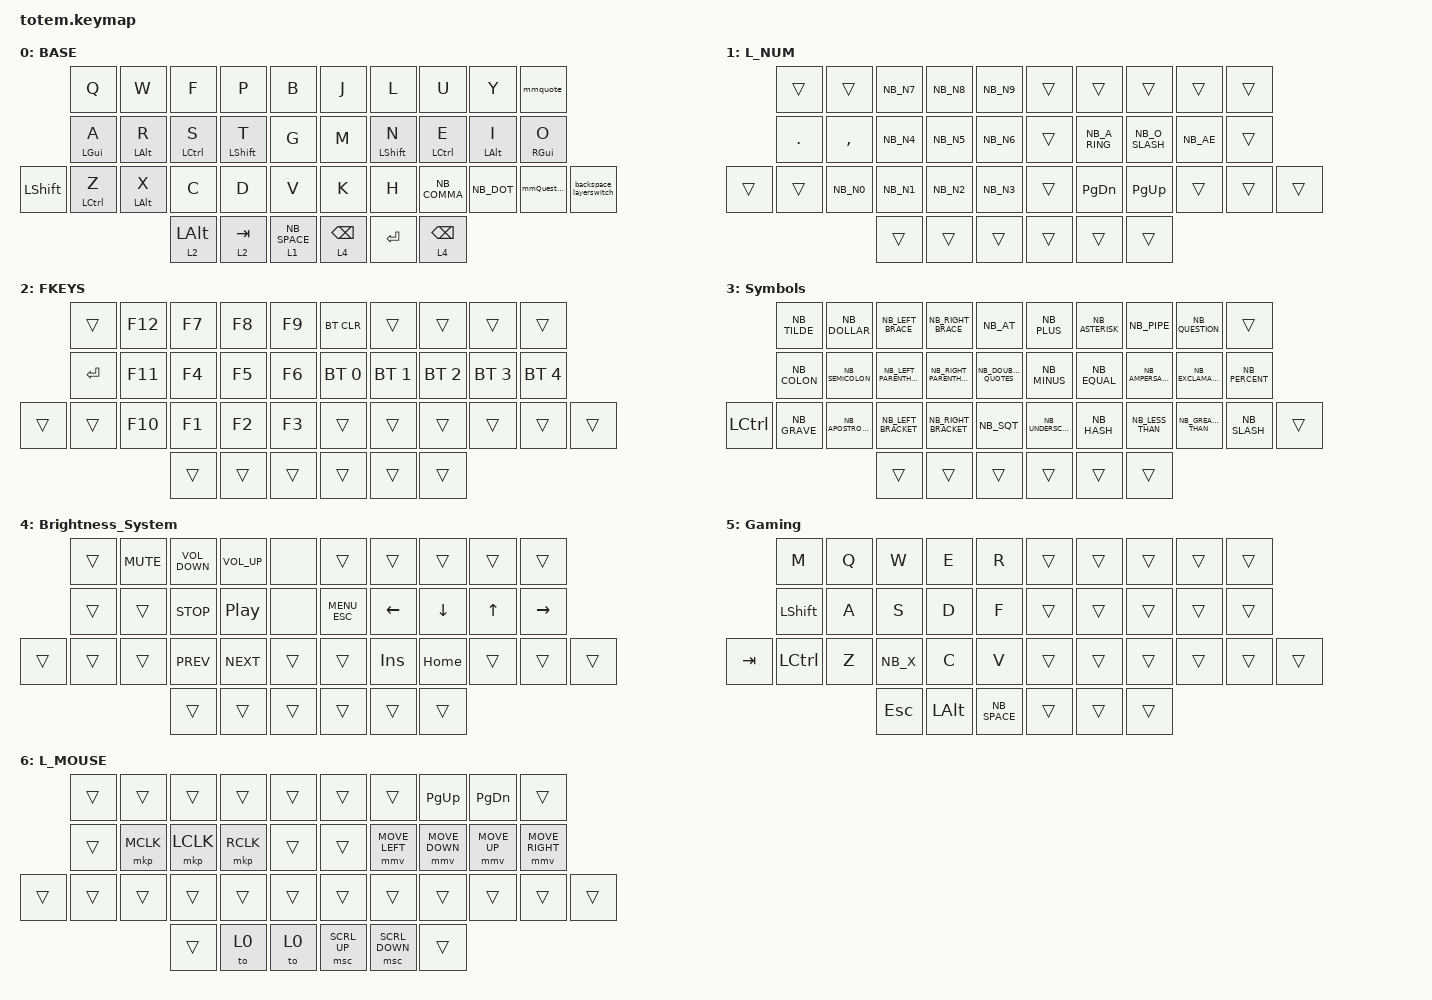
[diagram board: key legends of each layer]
//
//                                                        ▀▀▀▀▀     ▀▀▀▀▀          ▀▀█▀▀
//                                                        ▄▀▀▀▄  ▄  ▄▀▀▀▄  ▄  ▄▀▀▀▄  █  ▄▀▀▀▄
//                                                        █   █  █  █   █  █  █   █  █  █   █
//                                                         ▀▀▀   █   ▀▀▀   █   ▀▀▀   ▀   ▀▀▀
//                                                               █      ▄▄▄█▄▄▄    █   █  
//                                                               ▀      █  █  █     █▄█
//                                                             ▀▀▀▀▀    █  █  █      ▀
//                                                                      ▀  ▀  ▀
//
// ▄▄▄▄▄▄▄▄▄▄▄▄▄▄▄▄▄▄▄▄▄▄▄▄▄▄▄▄▄▄▄▄▄▄▄▄▄▄▄▄▄▄▄▄▄▄▄▄▄▄▄▄▄▄▄▄▄▄▄▄▄▄▄▄▄▄▄▄▄▄▄▄▄▄▄▄▄▄▄▄▄▄▄▄▄▄▄▄▄▄▄▄▄▄▄▄▄▄▄▄▄▄▄▄▄▄▄▄▄▄▄▄▄▄▄▄▄▄▄▄▄▄▄▄▄▄▄▄▄▄▄▄▄▄▄▄▄▄▄▄▄▄▄▄▄▄▄▄▄

#include "keys_nb.h"
#include <behaviors.dtsi>
#include <dt-bindings/zmk/bt.h>
#include <dt-bindings/zmk/keys.h>
#include <dt-bindings/zmk/pointing.h>

#define BASE 0
#define NAV  1
#define SYM  2
#define ADJ  3
#define TVP1 4
#define TVP2 5

&mt {
    quick-tap-ms = <175>;
    global-quick-tap;
    flavor = "balanced";
    tapping-term-ms = <280>;
    require-prior-idle-ms = <150>;
    hold-trigger-on-release;
    hold-trigger-key-positions = <32 33 34 35 36 37 0 1 2 3 4 5 6 7 8 9 10 11 12 13 14 15 16 17 18 19 20 21 22 23 24 25 26 27 28 29 30 31 32 33 34 35 36 37>;
};

/ {
    combos {
        compatible = "zmk,combos";

        combo_esc {
            key-positions = <12 11>;
            bindings = <&kp ESC>;
            layers = <0>;
            require-prior-idle-ms = <150>;
            timeout-ms = <20>;
        };

        BraceOpen {
            bindings = <&kp NB_LEFT_BRACE>;
            key-positions = <27 28>;
            layers = <0>;
            require-prior-idle-ms = <150>;
            timeout-ms = <20>;
        };

        BraceClose {
            bindings = <&kp NB_RIGHT_BRACE>;
            key-positions = <29 28>;
            layers = <0>;
            require-prior-idle-ms = <150>;
            timeout-ms = <20>;
        };

        BracketOpen {
            bindings = <&kp NB_LEFT_BRACKET>;
            key-positions = <27 28>;
            layers = <1>;
            require-prior-idle-ms = <150>;
            timeout-ms = <20>;
        };

        BracketClose {
            bindings = <&kp NB_RIGHT_BRACKET>;
            key-positions = <28 29>;
            layers = <1>;
            require-prior-idle-ms = <150>;
            timeout-ms = <20>;
        };

        ParentOpen {
            bindings = <&kp NB_LEFT_PARENTHESIS>;
            key-positions = <16 17>;
            layers = <0>;
            require-prior-idle-ms = <150>;
            timeout-ms = <20>;
        };

        ParentClose {
            bindings = <&kp NB_RIGHT_PARENTHESIS>;
            key-positions = <17 18>;
            layers = <0>;
            require-prior-idle-ms = <150>;
            timeout-ms = <20>;
        };

        CrocOpen {
            bindings = <&kp NB_LESS_THAN>;
            key-positions = <17 16>;
            layers = <1>;
            require-prior-idle-ms = <150>;
            timeout-ms = <20>;
        };

        CrocClose {
            bindings = <&kp NB_GREATER_THAN>;
            key-positions = <17 18>;
            layers = <1>;
            require-prior-idle-ms = <150>;
            timeout-ms = <20>;
        };

        Underscore {
            bindings = <&kp NB_UNDERSCORE>;
            key-positions = <26 15>;
            layers = <0>;
            require-prior-idle-ms = <150>;
            timeout-ms = <20>;
        };

        Hat {
            bindings = <&kp NB_CARET>;
            key-positions = <15 5>;
            layers = <0>;
            require-prior-idle-ms = <150>;
            timeout-ms = <20>;
        };

        plus {
            bindings = <&kp NB_PLUS>;
            key-positions = <6 16>;
            layers = <0>;
            require-prior-idle-ms = <150>;
            timeout-ms = <20>;
        };

        minus {
            bindings = <&kp NB_MINUS>;
            key-positions = <16 27>;
            layers = <0>;
            require-prior-idle-ms = <150>;
            timeout-ms = <20>;
        };

        Star {
            bindings = <&kp NB_STAR>;
            key-positions = <7 17>;
            layers = <0>;
            require-prior-idle-ms = <150>;
            timeout-ms = <20>;
        };

        Equal {
            bindings = <&kp NB_EQUAL>;
            key-positions = <24 13>;
            layers = <0>;
            require-prior-idle-ms = <150>;
            timeout-ms = <20>;
        };

        Pipe {
            bindings = <&kp NB_PIPE>;
            key-positions = <18 29>;
            layers = <0>;
            require-prior-idle-ms = <150>;
            timeout-ms = <20>;
        };

        Ampersand {
            bindings = <&kp NB_AMPERSAND>;
            key-positions = <18 8>;
            layers = <0>;
            require-prior-idle-ms = <150>;
            timeout-ms = <20>;
        };

        Dollar {
            bindings = <&kp NB_DOLLAR>;
            key-positions = <3 13>;
            layers = <0>;
            require-prior-idle-ms = <150>;
            timeout-ms = <20>;
        };

        Percent {
            bindings = <&kp NB_PERCENT>;
            key-positions = <4 14>;
            layers = <0>;
            require-prior-idle-ms = <150>;
            timeout-ms = <20>;
        };

        Gaming {
            bindings = <&gaming 5 0>;
            key-positions = <21 22>;
            layers = <0 5>;
            require-prior-idle-ms = <150>;
            timeout-ms = <20>;
        };

        FwdSlash {
            bindings = <&kp NB_SLASH>;
            key-positions = <17 28>;
            require-prior-idle-ms = <150>;
            timeout-ms = <20>;
            layers = <0>;
        };

        BwdSlash {
            bindings = <&kp NB_BACKSLASH>;
            key-positions = <12 23>;
            layers = <0>;
            require-prior-idle-ms = <150>;
            timeout-ms = <20>;
        };

        HashTag {
            bindings = <&kp NB_HASH>;
            key-positions = <2 12>;
            require-prior-idle-ms = <150>;
            layers = <0>;
            timeout-ms = <20>;
        };

        At {
            bindings = <&kp NB_AT_SIGN>;
            key-positions = <1 11>;
            require-prior-idle-ms = <150>;
            layers = <0>;
            timeout-ms = <20>;
        };

        Tab {
            bindings = <&kp TAB>;
            key-positions = <24 23>;
            require-prior-idle-ms = <150>;
            timeout-ms = <20>;
            layers = <0>;
        };

        Tilde {
            bindings = <&kp NB_TILDE>;
            key-positions = <14 25>;
            layers = <0>;
            require-prior-idle-ms = <150>;
            timeout-ms = <20>;
        };

        Trophy {
            bindings = <&kp NB_GRAVE>;
            key-positions = <22 11>;
            layers = <0>;
            require-prior-idle-ms = <150>;
            timeout-ms = <20>;
        };

        Backspace {
            bindings = <&kp BACKSPACE>;
            key-positions = <2 1>;
            layers = <0>;
            require-prior-idle-ms = <150>;
            timeout-ms = <20>;
        };

        Delete {
            bindings = <&kp DELETE>;
            key-positions = <8 7>;
            layers = <0>;
            require-prior-idle-ms = <150>;
            timeout-ms = <20>;
        };

        MouseLayer {
            bindings = <&tog 6>;
            key-positions = <8 6>;
            layers = <0>;
            require-prior-idle-ms = <150>;
            timeout-ms = <20>;
        };

        Enter {
            bindings = <&kp ENTER>;
            key-positions = <12 13>;
            timeout-ms = <20>;
            require-prior-idle-ms = <150>;
            layers = <0>;
        };

        Delete2 {
            bindings = <&kp DELETE>;
            key-positions = <3 2>;
            timeout-ms = <20>;
            require-prior-idle-ms = <150>;
            layers = <0>;
        };

        Home {
            bindings = <&kp HOME>;
            key-positions = <22 24>;
            layers = <0>;
            timeout-ms = <20>;
            require-prior-idle-ms = <150>;
        };
    };

    macros {
        gif: gif {
            label = "giphy";
            compatible = "zmk,behavior-macro";
            #binding-cells = <0>;
            bindings =
                <&macro_press>,
                <&kp LSHFT>,
                <&macro_tap>,
                <&kp N2>,
                <&macro_release>,
                <&kp LSHFT>,
                <&macro_tap>,
                <&kp G &kp I &kp F>;
        };
    };

    behaviors {
        gaming: gaming {
            compatible = "zmk,behavior-hold-tap";
            label = "GAMING";
            #binding-cells = <2>;
            bindings = <&to>, <&to>;

            tapping-term-ms = <175>;
            flavor = "balanced";
        };

        mmQuestionExplemation: mmQuestionExplemation {
            compatible = "zmk,behavior-mod-morph";
            label = "MMQUESTIONEXPLEMATION";
            bindings = <&kp NB_QUESTION>, <&kp NB_EXCLAMATION>;

            #binding-cells = <0>;
            mods = <(MOD_LSFT)>;
        };

        mmquote: mmquote {
            compatible = "zmk,behavior-mod-morph";
            label = "MMQUOTE";
            bindings = <&kp NB_SQT>, <&kp NB_DOUBLE_QUOTES>;

            #binding-cells = <0>;
            mods = <(MOD_LSFT)>;
        };

        backspace_layerswitch: backspace_layerswitch {
            compatible = "zmk,behavior-tap-dance";
            label = "BACKSPACE_LAYERSWITCH";
            #binding-cells = <0>;
            bindings = <&lt 3 BACKSPACE>, <&kp BACKSPACE>;
        };

        testbeh: testbeh {
            compatible = "zmk,behavior-hold-tap";
            label = "TESTBEH";
            bindings = <&mo>, <&kp>;

            #binding-cells = <2>;
            tapping-term-ms = <200>;
            flavor = "tap-preferred";
            quick-tap-ms = <150>;
        };

        bmt: bmt {
            compatible = "zmk,behavior-hold-tap";
            label = "BMT";
            bindings = <&kp>, <&kp>;

            #binding-cells = <2>;
            tapping-term-ms = <250>;
            flavor = "balanced";
            quick-tap-ms = <200>;
        };
    };

    keymap {
        compatible = "zmk,keymap";

        // ▄▄▄▄▄▄▄▄▄▄▄▄▄▄▄▄▄▄▄▄▄▄▄▄▄▄▄▄▄▄▄▄▄▄▄▄▄▄▄▄▄▄▄▄▄▄▄▄▄▄▄▄▄▄▄▄▄▄▄▄▄▄▄▄▄▄▄▄▄▄▄▄▄▄▄▄▄▄▄▄▄▄▄▄▄▄▄▄▄▄▄▄▄▄▄▄▄▄▄▄▄▄▄▄▄▄▄▄▄▄▄▄▄▄▄▄▄▄▄▄▄▄▄▄▄▄▄▄▄▄▄▄▄▄▄▄▄▄▄▄▄▄▄▄▄▄▄▄▄

        base_layer {
            // ┏━━━━━━━━━━━━━━━━━━━━━━━━━━━━━━━━━━━━━━━┓

            label = "BASE";

            // ┗━━━━━━━━━━━━━━━━━━━━━━━━━━━━━━━━━━━━━━━┛
            //             ┏━━━━━━━━━━━┳━━━━━━━━━━━┳━━━━━━━━━━━┳━━━━━━━━━━━┳━━━━━━━━━━━┓   ┏━━━━━━━━━━━┳━━━━━━━━━━━┳━━━━━━━━━━━┳━━━━━━━━━━━┳━━━━━━━━━━━┓
            //             ┃     Q     ┃     W     ┃     F     ┃     P     ┃     G     ┃   ┃     J     ┃     L     ┃     U     ┃     Y     ┃     ;     ┃
            //             ┣━━━━━━━━━━━╋━━━━━━━━━━━╋━━━━━━━━━━━╋━━━━━━━━━━━╋━━━━━━━━━━━┫   ┣━━━━━━━━━━━╋━━━━━━━━━━━╋━━━━━━━━━━━╋━━━━━━━━━━━╋━━━━━━━━━━━┫
            //             ┃     A     ┃     R     ┃     S     ┃     T     ┃     D     ┃   ┃     H     ┃     N     ┃     E     ┃     I     ┃     O     ┃
            // ┏━━━━━━━━━━━╋━━━━━━━━━━━╋━━━━━━━━━━━╋━━━━━━━━━━━╋━━━━━━━━━━━╋━━━━━━━━━━━┫   ┣━━━━━━━━━━━╋━━━━━━━━━━━╋━━━━━━━━━━━╋━━━━━━━━━━━╋━━━━━━━━━━━╋━━━━━━━━━━━┓
            // ┃     Q     ┃     Z     ┃     X     ┃     C     ┃     V     ┃     B     ┃   ┃     K     ┃     M     ┃     ,     ┃     .     ┃     /     ┃     \     ┃
            // ┗━━━━━━━━━━━┻━━━━━━━━━━━┻━━━━━━━━━━━╋━━━━━━━━━━━╋━━━━━━━━━━━╋━━━━━━━━━━━┫   ┣━━━━━━━━━━━╋━━━━━━━━━━━╋━━━━━━━━━━━╋━━━━━━━━━━━┻━━━━━━━━━━━┻━━━━━━━━━━━┛
            //                                     ┃    DEL    ┃    TAB    ┃    SPC    ┃   ┃   ENTER   ┃           ┃   BSPC    ┃
            //                                     ┗━━━━━━━━━━━┻━━━━━━━━━━━┻━━━━━━━━━━━┛   ┗━━━━━━━━━━━┻━━━━━━━━━━━┻━━━━━━━━━━━┛

            bindings = <
                &kp Q               &kp W           &kp F           &kp P           &kp B             &kp J            &kp L             &kp U               &kp Y           &mmquote
                &mt LGUI A          &mt LALT R      &mt LCTRL S     &mt LSHFT T     &kp G             &kp M            &mt LEFT_SHIFT N  &mt LEFT_CONTROL E  &mt LEFT_ALT I  &mt RGUI O
&kp LEFT_SHIFT  &mt LEFT_CONTROL Z  &mt LEFT_ALT X  &kp C           &kp D           &kp V             &kp K            &kp H             &kp NB_COMMA        &kp NB_DOT      &mmQuestionExplemation  &backspace_layerswitch
                                                    &lt 2 LEFT_ALT  &testbeh 2 TAB  &lt 1 NB_SPACE    &lt 4 BACKSPACE  &kp ENTER         &lt 4 BACKSPACE
            >;
        };

        Num {
            // ┏━━━━━━━━━━━━━━━━━━━━━━━━━━━━━━━━━━━━━━━┓

            label = "L_NUM";

            // ┗━━━━━━━━━━━━━━━━━━━━━━━━━━━━━━━━━━━━━━━┛
            //             ┏━━━━━━━━━━━┳━━━━━━━━━━━┳━━━━━━━━━━━┳━━━━━━━━━━━┳━━━━━━━━━━━┓   ┏━━━━━━━━━━━┳━━━━━━━━━━━┳━━━━━━━━━━━┳━━━━━━━━━━━┳━━━━━━━━━━━┓
            //             ┃           ┃           ┃     UP    ┃           ┃     {     ┃   ┃     }     ┃     7     ┃     8     ┃     9     ┃     +     ┃
            //             ┣━━━━━━━━━━━╋━━━━━━━━━━━╋━━━━━━━━━━━╋━━━━━━━━━━━╋━━━━━━━━━━━┫   ┣━━━━━━━━━━━╋━━━━━━━━━━━╋━━━━━━━━━━━╋━━━━━━━━━━━╋━━━━━━━━━━━┫
            //             ┃   SHIFT   ┃   LEFT    ┃    DOWN   ┃   RIGHT   ┃     [     ┃   ┃     ]     ┃     4     ┃     5     ┃     6     ┃     -     ┃
            // ┏━━━━━━━━━━━╋━━━━━━━━━━━╋━━━━━━━━━━━╋━━━━━━━━━━━╋━━━━━━━━━━━╋━━━━━━━━━━━┫   ┣━━━━━━━━━━━╋━━━━━━━━━━━╋━━━━━━━━━━━╋━━━━━━━━━━━╋━━━━━━━━━━━╋━━━━━━━━━━━┓
            // ┃           ┃           ┃   P UP    ┃  C LOCK   ┃  P DOWN   ┃     (     ┃   ┃     )     ┃     1     ┃     2     ┃     3     ┃     *     ┃           ┃
            // ┗━━━━━━━━━━━┻━━━━━━━━━━━┻━━━━━━━━━━━╋━━━━━━━━━━━╋━━━━━━━━━━━╋━━━━━━━━━━━┫   ┣━━━━━━━━━━━╋━━━━━━━━━━━╋━━━━━━━━━━━╋━━━━━━━━━━━┻━━━━━━━━━━━┻━━━━━━━━━━━┛
            //                                     ┃           ┃    TAB    ┃    SPC    ┃   ┃    DEL    ┃     0     ┃           ┃
            //                                     ┗━━━━━━━━━━━┻━━━━━━━━━━━┻━━━━━━━━━━━┛   ┗━━━━━━━━━━━┻━━━━━━━━━━━┻━━━━━━━━━━━┛

            bindings = <
        &trans      &trans     &kp NB_N7  &kp NB_N8  &kp NB_N9    &trans  &trans         &trans          &trans     &trans
        &kp PERIOD  &kp COMMA  &kp NB_N4  &kp NB_N5  &kp NB_N6    &trans  &kp NB_A_RING  &kp NB_O_SLASH  &kp NB_AE  &trans
&trans  &trans      &kp NB_N0  &kp NB_N1  &kp NB_N2  &kp NB_N3    &trans  &kp PAGE_DOWN  &kp PAGE_UP     &trans     &trans  &trans
                               &trans     &trans     &trans       &trans  &trans         &trans
            >;
        };

        FKEYS {
            bindings = <
        &trans     &kp F12  &kp F7  &kp F8  &kp F9    &bt BT_CLR    &trans        &trans        &trans        &trans
        &kp ENTER  &kp F11  &kp F4  &kp F5  &kp F6    &bt BT_SEL 0  &bt BT_SEL 1  &bt BT_SEL 2  &bt BT_SEL 3  &bt BT_SEL 4
&trans  &trans     &kp F10  &kp F1  &kp F2  &kp F3    &trans        &trans        &trans        &trans        &trans        &trans
                            &trans  &trans  &trans    &trans        &trans        &trans
            >;
        };

        Symbols {
            bindings = <
           &kp NB_TILDE  &kp NB_DOLLAR      &kp NB_LEFT_BRACE        &kp NB_RIGHT_BRACE        &kp NB_AT               &kp NB_PLUS        &kp NB_ASTERISK  &kp NB_PIPE       &kp NB_QUESTION      &trans
           &kp NB_COLON  &kp NB_SEMICOLON   &kp NB_LEFT_PARENTHESIS  &kp NB_RIGHT_PARENTHESIS  &kp NB_DOUBLE_QUOTES    &kp NB_MINUS       &kp NB_EQUAL     &kp NB_AMPERSAND  &kp NB_EXCLAMATION   &kp NB_PERCENT
&kp LCTRL  &kp NB_GRAVE  &kp NB_APOSTROPHE  &kp NB_LEFT_BRACKET      &kp NB_RIGHT_BRACKET      &kp NB_SQT              &kp NB_UNDERSCORE  &kp NB_HASH      &kp NB_LESS_THAN  &kp NB_GREATER_THAN  &kp NB_SLASH    &trans
                                            &trans                   &trans                    &trans                  &trans             &trans           &trans
            >;
        };

        Brightness_System {
            bindings = <
        &trans  &kp C_MUTE  &kp C_VOLUME_DOWN  &kp C_VOLUME_UP   &none     &trans          &trans          &trans          &trans        &trans
        &trans  &trans      &kp C_STOP         &kp C_PLAY_PAUSE  &none     &kp C_MENU_ESC  &kp LEFT_ARROW  &kp DOWN_ARROW  &kp UP_ARROW  &kp RIGHT
&trans  &trans  &trans      &kp C_PREV         &kp C_NEXT        &trans    &trans          &kp INSERT      &kp HOME        &trans        &trans     &trans
                            &trans             &trans            &trans    &trans          &trans          &trans
            >;
        };

        Gaming {
            bindings = <
         &kp M      &kp Q  &kp W       &kp E         &kp R           &trans  &trans  &trans  &trans  &trans
         &kp LSHFT  &kp A  &kp S       &kp D         &kp F           &trans  &trans  &trans  &trans  &trans
&kp TAB  &kp LCTRL  &kp Z  &kp NB_X    &kp C         &kp V           &trans  &trans  &trans  &trans  &trans  &trans
                           &kp ESCAPE  &kp LEFT_ALT  &kp NB_SPACE    &trans  &trans  &trans
            >;
        };

        Mouse {
            bindings = <
        &trans  &trans     &trans     &trans     &trans    &trans        &trans          &kp PAGE_UP     &kp PAGE_DOWN  &trans
        &trans  &mkp MCLK  &mkp LCLK  &mkp RCLK  &trans    &trans        &mmv MOVE_LEFT  &mmv MOVE_DOWN  &mmv MOVE_UP   &mmv MOVE_RIGHT
&trans  &trans  &trans     &trans     &trans     &trans    &trans        &trans          &trans          &trans         &trans           &trans
                           &trans     &to 0      &to 0     &msc SCRL_UP  &msc SCRL_DOWN  &trans
            >;

            label = "L_MOUSE";
        };
    };
};
